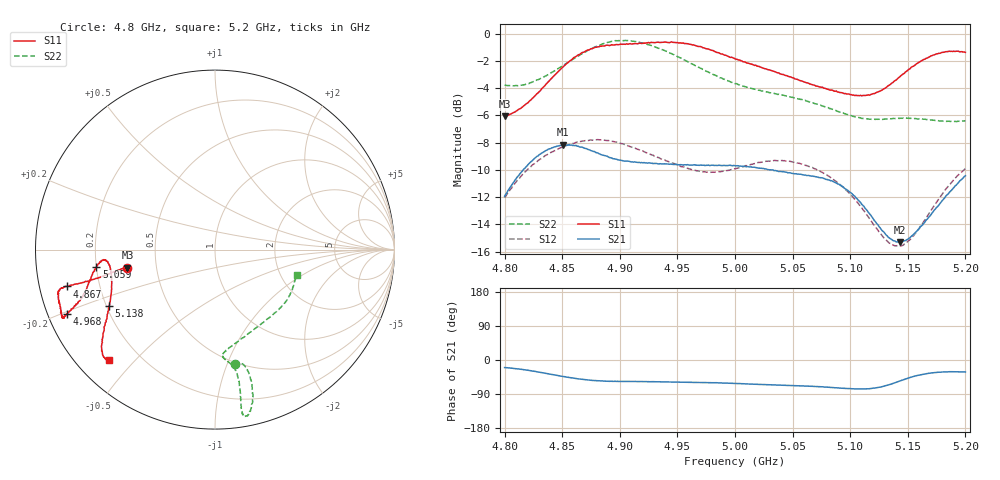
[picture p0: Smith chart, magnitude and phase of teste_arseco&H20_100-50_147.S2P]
! Network Analyzer HP8722D
! Hewlett-Packard
! Data name: Linha & Wilkinson
! Saver's name: Rodrigo Anjos
! Comments: Teste da utilização de aquisição
! continua pelo VNA HP8722D
! Time and date: 6/5/2025 13:47
!  Frequency  S11  S21  S12  S22
# HZ  S  MA R 50
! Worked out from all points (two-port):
!   401 points, 4.8 GHz to 5.2 GHz, reference 50 ohm
!   highest |S21| = -8.16 dB at 4.851 GHz (marker M1); lowest = -15.3 dB at 5.143 GHz (marker M2)
!   |S21| within 3 dB of the highest: 4.806 GHz to 5.092 GHz (286.1 MHz wide, 5.78 % of centre); 5.191485 GHz to end of sweep
!   lowest |S11| = -6.1 dB at 4.8 GHz (marker M3), VSWR 2.98, Z = 16.9 - j4.55 ohm
!   |S11| at or under -10 dB: nowhere
!   |S22| runs from -6.5 to -0.5 dB; largest |S21 - S12| = 0.62
!   S11 on the Smith chart (normalised r, x): 4.8 GHz: 0.34, -0.09; 4.867 GHz: 0.08, -0.12; 4.968 GHz: 0.06, -0.21; 5.059 GHz: 0.20, -0.07; 5.138 GHz: 0.21, -0.24; 5.2 GHz: 0.09, -0.42
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4.8e9  0.4979 -168.3  0.2532 -19.9  0.2499 -141.1  0.6477 -80.3
4.823e9  0.5718 -167.7  0.3389 -28.3  0.3256 -144.0  0.6616 -76.1
4.851e9  0.7578 -166.0  0.391 -43.6  0.3846 -149.5  0.7664 -74.7
4.867e9  0.8513 -166.0  0.3832 -51.0  0.4028 -152.3  0.843 -75.6
4.879e9  0.8917 -165.8  0.3663 -54.5  0.4075 -154.3  0.8954 -76.7
4.898e9  0.9118 -163.2  0.3447 -56.3  0.3977 -156.6  0.9419 -78.9
4.915e9  0.9182 -159.8  0.337 -57.0  0.3769 -157.3  0.9324 -80.4
4.934e9  0.9295 -156.8  0.3323 -57.7  0.3506 -155.8  0.8825 -80.5
4.968e9  0.8976 -156.4  0.3289 -59.2  0.3137 -147.8  0.7534 -79.7
5e9  0.8084 -159.2  0.3276 -61.9  0.3194 -137.4  0.6554 -81.4
5.036e9  0.721 -165.8  0.3135 -66.1  0.3416 -134.6  0.5997 -85.7
5.059e9  0.6676 -171.6  0.3031 -68.3  0.3311 -136.2  0.5709 -84.4
5.067e9  0.65 -173.1  0.3003 -69.4  0.3228 -137.0  0.5581 -82.6
5.085e9  0.6189 -174.7  0.2868 -72.7  0.2927 -138.5  0.5269 -75.7
5.102e9  0.5945 -171.8  0.2572 -76.1  0.2523 -138.9  0.4975 -65.9
5.116e9  0.5962 -165.6  0.2202 -76.0  0.2116 -135.4  0.4855 -55.7
5.134e9  0.6472 -154.2  0.1776 -65.0  0.1701 -120.4  0.4875 -43.3
5.138e9  0.6682 -152.0  0.1735 -61.1  0.1669 -115.4  0.4882 -40.8
5.143e9  0.6941 -149.3  0.1715 -55.5  0.1662 -108.9  0.4885 -38.0
5.154e9  0.7572 -144.6  0.1816 -44.2  0.1798 -94.9  0.488 -32.3
5.174e9  0.8401 -138.7  0.2272 -33.0  0.2372 -80.4  0.4799 -23.9
5.2e9  0.854 -133.7  0.3008 -31.6  0.3204 -77.1  0.4783 -17.5
